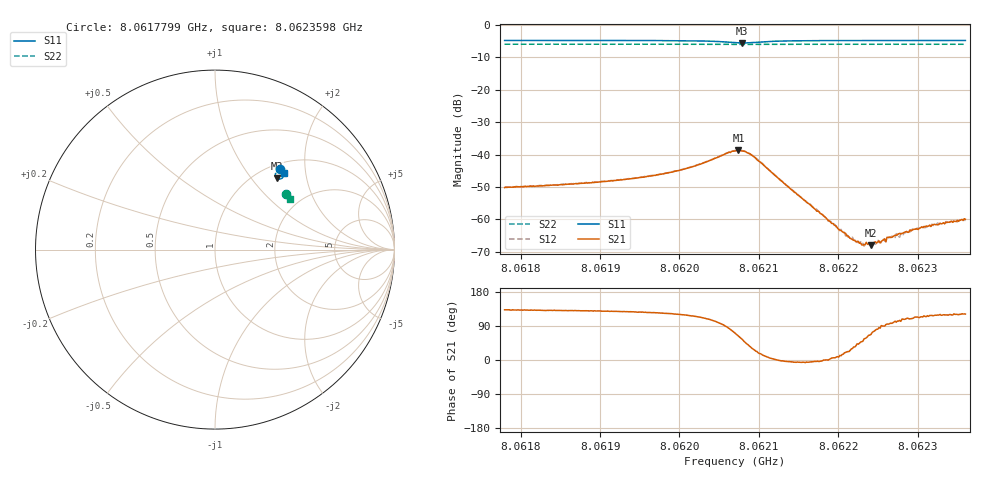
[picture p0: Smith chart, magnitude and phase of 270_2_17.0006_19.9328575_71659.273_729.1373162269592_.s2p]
#  HZ  S  RI  R  50.00
! Rohde & Schwarz Vector Network Analyzer
! Rohde-Schwarz,ZNB20-2Port,1311601062101988,3.16
! Created: UTC 3/20/2024, 11:04:09 PM
! freq[Hz]  re:S11  im:S11  re:S21  im:S21  re:S12  im:S12  re:S22  im:S22
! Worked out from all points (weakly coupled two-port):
!   401 points, 8.0617799 GHz to 8.0623598 GHz, reference 50 ohm
!   highest |S21| = -38.66 dB at 8.0620742 GHz (marker M1); lowest = -67.9 dB at 8.0622409 GHz (marker M2)
!   lowest |S11| = -5.6 dB at 8.0620785 GHz (marker M3), VSWR 3.22, Z = 61.6 + j67.8 ohm
!   |S11| at or under -10 dB: nowhere
!   |S22| runs from -6.0 to -5.9 dB; largest |S21 - S12| = 0.00085
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8.06177994e9  0.3629 0.4472  -0.00209 0.00229  -0.00199 0.00248  0.3982 0.309
8.06187706e9  0.37 0.4411  -0.00232 0.00277  -0.00217 0.00295  0.4017 0.3043
8.06193069e9  0.3741 0.4366  -0.00255 0.00327  -0.00233 0.00342  0.4035 0.3017
8.06197418e9  0.3781 0.4311  -0.00279 0.00408  -0.00255 0.00425  0.4052 0.299
8.06201911e9  0.3821 0.4206  -0.00285 0.00603  -0.00251 0.00625  0.4067 0.2966
8.06206985e9  0.3589 0.393  0.00367 0.0108  0.00439 0.0107  0.4069 0.2933
8.06207419e9  0.3521 0.3941  0.00528 0.0104  0.00585 0.0101  0.4068 0.2933
8.06207854e9  0.3455 0.3973  0.00649 0.00938  0.00728 0.00904  0.4066 0.2931
8.06209304e9  0.336 0.4177  0.00825 0.00443  0.00859 0.00403  0.407 0.2936
8.06213218e9  0.3561 0.4393  0.00355 -0.000208  0.00357 -0.000399  0.4095 0.2924
8.06216697e9  0.3669 0.4386  0.00157 -0.000126  0.00157 -0.000225  0.4111 0.2906
8.0622119e9  0.3744 0.4357  0.000519 0.000213  0.000508 0.000175  0.4128 0.2882
8.0622293e9  0.3763 0.4344  0.00027 0.000304  0.000295 0.000301  0.4136 0.2873
8.06223365e9  0.3768 0.4342  0.000225 0.000344  0.000231 0.000339  0.4137 0.2871
8.06224089e9  0.3777 0.4337  0.000154 0.000371  0.000149 0.000407  0.414 0.2866
8.06225684e9  0.3793 0.4326  5.03e-06 0.000484  4.25e-05 0.000496  0.4145 0.286
8.06226409e9  0.38 0.4322  -5.11e-05 0.000535  -2.83e-05 0.000524  0.4149 0.2854
8.06227858e9  0.3812 0.4312  -0.000125 0.000585  -0.000124 0.000599  0.4153 0.2847
8.06229598e9  0.3826 0.4303  -0.000279 0.00065  -0.000242 0.000665  0.4159 0.2839
8.06230757e9  0.3835 0.4295  -0.000351 0.000698  -0.000274 0.000697  0.4162 0.2831
8.06232642e9  0.385 0.4284  -0.000399 0.000736  -0.000363 0.000763  0.4169 0.2823
8.06235976e9  0.3871 0.4266  -0.000521 0.000862  -0.000461 0.000851  0.4181 0.2803
